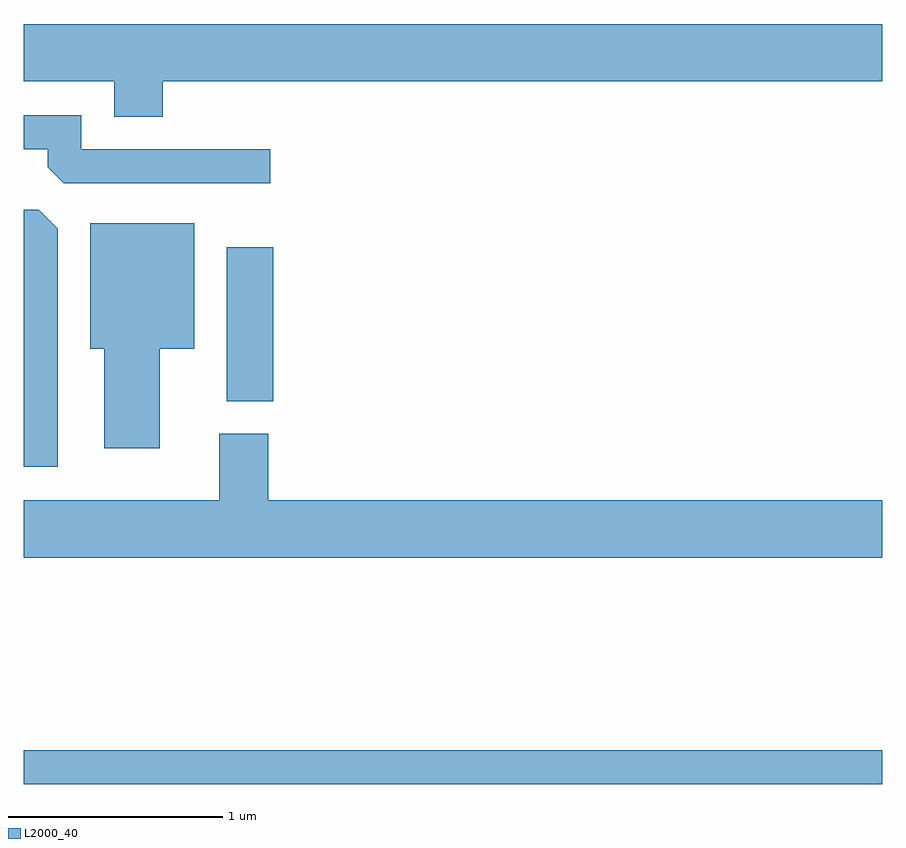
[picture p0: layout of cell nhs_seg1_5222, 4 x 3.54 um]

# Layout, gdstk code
import gdstk
lib = gdstk.Library(unit=1e-6, precision=1e-09)
def R(c, l, rs):  # rectangles x0, y0, x1, y1
    for r in rs: c.add(gdstk.rectangle(r[:2], r[2:], *l))
def P(c, l, *ps):  # polygons
    for p in ps: c.add(gdstk.Polygon(p, *l))
L2000_40 = (2000, 40)

nhs_seg1_5222 = lib.new_cell('nhs_seg1_5222')
R(nhs_seg1_5222, L2000_40, [(341.611,954.021,345.611,954.179), (342.556,955.806,342.774,956.524)])
P(nhs_seg1_5222, L2000_40, [(342.259,957.296),(345.611,957.296),(345.611,957.564),(341.611,957.564),(341.611,957.296),(342.031,957.296),(342.031,957.131),(342.259,957.131)],
  [(342.758,956.979),(341.879,956.979),(341.879,957.139),(341.611,957.139),(341.611,956.981),(341.721,956.981),(341.721,956.897),(341.797,956.821),(342.758,956.821)],
  [(341.769,956.609),(341.679,956.699),(341.611,956.699),(341.611,955.501),(341.769,955.501)],
  [(342.244,956.051),(342.404,956.051),(342.404,956.634),(341.921,956.634),(341.921,956.051),(341.986,956.051),(341.986,955.586),(342.244,955.586)],
  [(345.611,955.344),(342.749,955.344),(342.749,955.654),(342.521,955.654),(342.521,955.344),(341.611,955.344),(341.611,955.076),(345.611,955.076)])

lib.write_gds('nhs_seg1_5222.gds')
